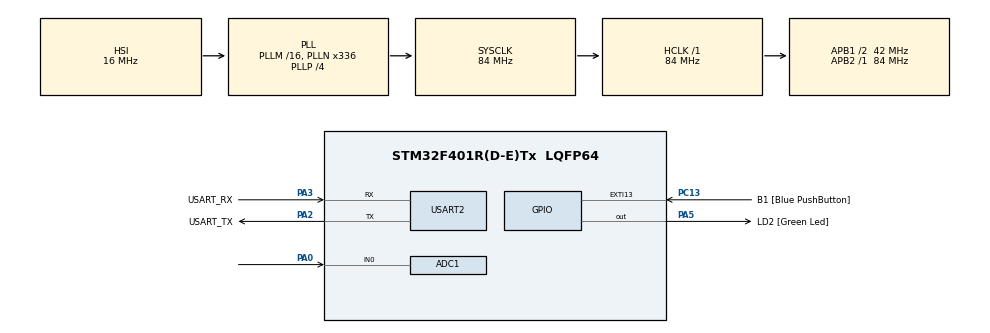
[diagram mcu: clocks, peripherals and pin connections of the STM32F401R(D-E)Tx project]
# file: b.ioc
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ADC1.Channel-0\#ChannelRegularConversion=ADC_CHANNEL_0
ADC1.ClockPrescaler=ADC_CLOCK_SYNC_PCLK_DIV4
ADC1.ContinuousConvMode=DISABLE
ADC1.DMAContinuousRequests=DISABLE
ADC1.ExternalTrigConv=ADC_EXTERNALTRIGCONV_T2_TRGO
ADC1.NbrOfConversion=1
ADC1.NbrOfConversionFlag=1
ADC1.Rank-0\#ChannelRegularConversion=1
ADC1.SamplingTime-0\#ChannelRegularConversion=ADC_SAMPLETIME_480CYCLES
ADC1.ScanConvMode=DISABLE
ADC1.master=1
Mcu.Family=STM32F4
Mcu.Name=STM32F401R(D-E)Tx
Mcu.Package=LQFP64
NVIC.ADC_IRQn=true\:0\:0\:false\:false\:true\:true\:true\:true
NVIC.PriorityGroup=NVIC_PRIORITYGROUP_0
NVIC.TIM2_IRQn=true\:0\:0\:false\:false\:true\:true\:true\:true
PA0-WKUP.Signal=ADCx_IN0
PA13.GPIO_Label=TMS
PA13.Mode=Serial_Wire
PA13.Signal=SYS_JTMS-SWDIO
PA14.GPIO_Label=TCK
PA14.Mode=Serial_Wire
PA14.Signal=SYS_JTCK-SWCLK
PA2.GPIO_Label=USART_TX
PA2.GPIO_Mode=GPIO_MODE_AF_PP
PA2.GPIO_PuPd=GPIO_NOPULL
PA2.GPIO_Speed=GPIO_SPEED_FREQ_LOW
PA2.Mode=Asynchronous
PA2.Signal=USART2_TX
PA3.GPIO_Label=USART_RX
PA3.GPIO_Mode=GPIO_MODE_AF_PP
PA3.GPIO_PuPd=GPIO_NOPULL
PA3.GPIO_Speed=GPIO_SPEED_FREQ_LOW
PA3.Mode=Asynchronous
PA3.Signal=USART2_RX
PA5.GPIO_Label=LD2 [Green Led]
PA5.GPIO_Mode=GPIO_MODE_OUTPUT_PP
PA5.GPIO_PuPd=GPIO_NOPULL
PA5.GPIO_Speed=GPIO_SPEED_FREQ_LOW
PA5.Signal=GPIO_Output
PB3.GPIO_Label=SWO
PB3.Signal=SYS_JTDO-SWO
PC13-ANTI_TAMP.GPIO_Label=B1 [Blue PushButton]
PC13-ANTI_TAMP.GPIO_ModeDefaultEXTI=GPIO_MODE_IT_FALLING
PC13-ANTI_TAMP.GPIO_PuPd=GPIO_NOPULL
PC13-ANTI_TAMP.Signal=GPXTI13
PC14-OSC32_IN.Mode=LSE-External-Oscillator
PC14-OSC32_IN.Signal=RCC_OSC32_IN
PC15-OSC32_OUT.Mode=LSE-External-Oscillator
PC15-OSC32_OUT.Signal=RCC_OSC32_OUT
PH0\ -\ OSC_IN.Mode=HSE-External-Clock-Source
PH0\ -\ OSC_IN.Signal=RCC_OSC_IN
PH1\ -\ OSC_OUT.Mode=HSE-External-Clock-Source
PH1\ -\ OSC_OUT.Signal=RCC_OSC_OUT
ProjectManager.HeapSize=0x200
ProjectManager.StackSize=0x400
ProjectManager.TargetToolchain=STM32CubeIDE
RCC.48MHZClocksFreq_Value=48000000
RCC.AHBFreq_Value=84000000
RCC.APB1CLKDivider=RCC_HCLK_DIV2
RCC.APB1Freq_Value=42000000
RCC.APB1TimFreq_Value=84000000
RCC.APB2Freq_Value=84000000
RCC.APB2TimFreq_Value=84000000
RCC.CortexFreq_Value=84000000
RCC.HCLKFreq_Value=84000000
RCC.HSE_VALUE=8000000
RCC.HSI_VALUE=16000000
RCC.PLLN=336
RCC.PLLP=RCC_PLLP_DIV4
RCC.PLLQ=7
RCC.SYSCLKFreq_VALUE=84000000
RCC.SYSCLKSource=RCC_SYSCLKSOURCE_PLLCLK
RCC.VCOOutputFreq_Value=336000000
SH.ADCx_IN0.0=ADC1_IN0,IN0
TIM2.Period=600 - 1
TIM2.Prescaler=140 - 1
TIM2.TIM_MasterOutputTrigger=TIM_TRGO_UPDATE
USART2.VirtualMode=VM_ASYNC
VP_TIM2_VS_ClockSourceINT.Mode=Internal
board=NUCLEO-F401RE

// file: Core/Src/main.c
/* USER CODE BEGIN Header */
/**
  ******************************************************************************
  * @file           : main.c
  * @brief          : Main program body
  ******************************************************************************
  * @attention
  *
  * Copyright (c) 2023 STMicroelectronics.
  * All rights reserved.
  *
  * This software is licensed under terms that can be found in the LICENSE file
  * in the root directory of this software component.
  * If no LICENSE file comes with this software, it is provided AS-IS.
  *
  ******************************************************************************
  */
/* USER CODE END Header */
#include "main.h"

/* USER CODE BEGIN Includes */

#include <string.h>
#include <stdio.h>
#include <math.h>

/* USER CODE END Includes */

/* USER CODE BEGIN PD */

#define REFERENCE 3.3f
#define MAX_ADC_VALUE 4095

#define N_SAMPLES 1000

/* USER CODE END PD */

ADC_HandleTypeDef hadc1;

TIM_HandleTypeDef htim2;

UART_HandleTypeDef huart2;

/* USER CODE BEGIN PV */

volatile uint16_t buffer[N_SAMPLES];
volatile uint8_t dataReady = 0;
volatile uint16_t bufferIndex = 0;

/* USER CODE END PV */

void SystemClock_Config(void);
static void MX_GPIO_Init(void);
static void MX_USART2_UART_Init(void);
static void MX_ADC1_Init(void);
static void MX_TIM2_Init(void);

int main(void)
{
  /* USER CODE BEGIN 1 */

  char printBuffer[100];

  /* USER CODE END 1 */

  /* MCU Configuration--------------------------------------------------------*/

  /* Reset of all peripherals, Initializes the Flash interface and the Systick. */
  HAL_Init();

  /* Configure the system clock */
  SystemClock_Config();

  /* Initialize all configured peripherals */
  MX_GPIO_Init();
  MX_USART2_UART_Init();
  MX_ADC1_Init();
  MX_TIM2_Init();
  /* USER CODE BEGIN 2 */

  HAL_ADC_Start_IT(&hadc1);
  HAL_TIM_Base_Start_IT(&htim2);

  /* USER CODE END 2 */

  /* Infinite loop */
  /* USER CODE BEGIN WHILE */
  while (1)
  {
	while(!dataReady){}
	dataReady = 0;

	// Once the samples have been all collected it is mandatory to stop the timer
	// to avoid interrupts
	HAL_TIM_Base_Stop_IT(&htim2);

	// Mean the results
	float mean = 0;
	for(int i = 0; i < N_SAMPLES; i++)
	{
		mean += buffer[i];
	}
	mean = mean / N_SAMPLES;

	// After the average has been computed the timer can be restarted again
	HAL_TIM_Base_Start_IT(&htim2);

	// Find the voltage
	float voltage = (mean * REFERENCE) / MAX_ADC_VALUE;
	float LDR = (voltage * 100) / (REFERENCE - voltage);
	float LUX = 10 * pow(100 / LDR, 1.25f);

	// Print the result to screen
	sprintf(printBuffer, "LUX: %f\r\n", LUX);
	HAL_UART_Transmit(&huart2, (uint8_t *)printBuffer, strlen(printBuffer), HAL_MAX_DELAY);

    /* USER CODE END WHILE */

  }
}

void SystemClock_Config(void)
{
  RCC_OscInitTypeDef RCC_OscInitStruct = {0};
  RCC_ClkInitTypeDef RCC_ClkInitStruct = {0};

  /** Configure the main internal regulator output voltage
  */
  __HAL_RCC_PWR_CLK_ENABLE();
  __HAL_PWR_VOLTAGESCALING_CONFIG(PWR_REGULATOR_VOLTAGE_SCALE2);

  /** Initializes the RCC Oscillators according to the specified parameters
  * in the RCC_OscInitTypeDef structure.
  */
  RCC_OscInitStruct.OscillatorType = RCC_OSCILLATORTYPE_HSI;
  RCC_OscInitStruct.HSIState = RCC_HSI_ON;
  RCC_OscInitStruct.HSICalibrationValue = RCC_HSICALIBRATION_DEFAULT;
  RCC_OscInitStruct.PLL.PLLState = RCC_PLL_ON;
  RCC_OscInitStruct.PLL.PLLSource = RCC_PLLSOURCE_HSI;
  RCC_OscInitStruct.PLL.PLLM = 16;
  RCC_OscInitStruct.PLL.PLLN = 336;
  RCC_OscInitStruct.PLL.PLLP = RCC_PLLP_DIV4;
  RCC_OscInitStruct.PLL.PLLQ = 7;
  if (HAL_RCC_OscConfig(&RCC_OscInitStruct) != HAL_OK)
  {
    Error_Handler();
  }

  /** Initializes the CPU, AHB and APB buses clocks
  */
  RCC_ClkInitStruct.ClockType = RCC_CLOCKTYPE_HCLK|RCC_CLOCKTYPE_SYSCLK
                              |RCC_CLOCKTYPE_PCLK1|RCC_CLOCKTYPE_PCLK2;
  RCC_ClkInitStruct.SYSCLKSource = RCC_SYSCLKSOURCE_PLLCLK;
  RCC_ClkInitStruct.AHBCLKDivider = RCC_SYSCLK_DIV1;
  RCC_ClkInitStruct.APB1CLKDivider = RCC_HCLK_DIV2;
  RCC_ClkInitStruct.APB2CLKDivider = RCC_HCLK_DIV1;

  if (HAL_RCC_ClockConfig(&RCC_ClkInitStruct, FLASH_LATENCY_2) != HAL_OK)
  {
    Error_Handler();
  }
}

static void MX_ADC1_Init(void)
{

  ADC_ChannelConfTypeDef sConfig = {0};

  /** Configure the global features of the ADC (Clock, Resolution, Data Alignment and number of conversion)
  */
  hadc1.Instance = ADC1;
  hadc1.Init.ClockPrescaler = ADC_CLOCK_SYNC_PCLK_DIV4;
  hadc1.Init.Resolution = ADC_RESOLUTION_12B;
  hadc1.Init.ScanConvMode = DISABLE;
  hadc1.Init.ContinuousConvMode = DISABLE;
  hadc1.Init.DiscontinuousConvMode = DISABLE;
  hadc1.Init.ExternalTrigConvEdge = ADC_EXTERNALTRIGCONVEDGE_RISING;
  hadc1.Init.ExternalTrigConv = ADC_EXTERNALTRIGCONV_T2_TRGO;
  hadc1.Init.DataAlign = ADC_DATAALIGN_RIGHT;
  hadc1.Init.NbrOfConversion = 1;
  hadc1.Init.DMAContinuousRequests = DISABLE;
  hadc1.Init.EOCSelection = ADC_EOC_SINGLE_CONV;
  if (HAL_ADC_Init(&hadc1) != HAL_OK)
  {
    Error_Handler();
  }

  /** Configure for the selected ADC regular channel its corresponding rank in the sequencer and its sample time.
  */
  sConfig.Channel = ADC_CHANNEL_0;
  sConfig.Rank = 1;
  sConfig.SamplingTime = ADC_SAMPLETIME_480CYCLES;
  if (HAL_ADC_ConfigChannel(&hadc1, &sConfig) != HAL_OK)
  {
    Error_Handler();
  }

}

static void MX_TIM2_Init(void)
{

  TIM_ClockConfigTypeDef sClockSourceConfig = {0};
  TIM_MasterConfigTypeDef sMasterConfig = {0};

  htim2.Instance = TIM2;
  htim2.Init.Prescaler = 140 - 1;
  htim2.Init.CounterMode = TIM_COUNTERMODE_UP;
  htim2.Init.Period = 600 - 1;
  htim2.Init.ClockDivision = TIM_CLOCKDIVISION_DIV1;
  htim2.Init.AutoReloadPreload = TIM_AUTORELOAD_PRELOAD_DISABLE;
  if (HAL_TIM_Base_Init(&htim2) != HAL_OK)
  {
    Error_Handler();
  }
  sClockSourceConfig.ClockSource = TIM_CLOCKSOURCE_INTERNAL;
  if (HAL_TIM_ConfigClockSource(&htim2, &sClockSourceConfig) != HAL_OK)
  {
    Error_Handler();
  }
  sMasterConfig.MasterOutputTrigger = TIM_TRGO_UPDATE;
  sMasterConfig.MasterSlaveMode = TIM_MASTERSLAVEMODE_DISABLE;
  if (HAL_TIMEx_MasterConfigSynchronization(&htim2, &sMasterConfig) != HAL_OK)
  {
    Error_Handler();
  }

}

static void MX_USART2_UART_Init(void)
{

  huart2.Instance = USART2;
  huart2.Init.BaudRate = 115200;
  huart2.Init.WordLength = UART_WORDLENGTH_8B;
  huart2.Init.StopBits = UART_STOPBITS_1;
  huart2.Init.Parity = UART_PARITY_NONE;
  huart2.Init.Mode = UART_MODE_TX_RX;
  huart2.Init.HwFlowCtl = UART_HWCONTROL_NONE;
  huart2.Init.OverSampling = UART_OVERSAMPLING_16;
  if (HAL_UART_Init(&huart2) != HAL_OK)
  {
    Error_Handler();
  }

}

static void MX_GPIO_Init(void)
{
  GPIO_InitTypeDef GPIO_InitStruct = {0};

  /* GPIO Ports Clock Enable */
  __HAL_RCC_GPIOC_CLK_ENABLE();
  __HAL_RCC_GPIOH_CLK_ENABLE();
  __HAL_RCC_GPIOA_CLK_ENABLE();
  __HAL_RCC_GPIOB_CLK_ENABLE();

  /*Configure GPIO pin Output Level */
  HAL_GPIO_WritePin(LD2_GPIO_Port, LD2_Pin, GPIO_PIN_RESET);

  /*Configure GPIO pin : B1_Pin */
  GPIO_InitStruct.Pin = B1_Pin;
  GPIO_InitStruct.Mode = GPIO_MODE_IT_FALLING;
  GPIO_InitStruct.Pull = GPIO_NOPULL;
  HAL_GPIO_Init(B1_GPIO_Port, &GPIO_InitStruct);

  /*Configure GPIO pin : LD2_Pin */
  GPIO_InitStruct.Pin = LD2_Pin;
  GPIO_InitStruct.Mode = GPIO_MODE_OUTPUT_PP;
  GPIO_InitStruct.Pull = GPIO_NOPULL;
  GPIO_InitStruct.Speed = GPIO_SPEED_FREQ_LOW;
  HAL_GPIO_Init(LD2_GPIO_Port, &GPIO_InitStruct);

}

/* USER CODE BEGIN 4 */

void HAL_ADC_ConvCpltCallback(ADC_HandleTypeDef* hadc)
{
	// Add the result to the buffer
	buffer[bufferIndex] = HAL_ADC_GetValue(hadc);
	bufferIndex++;

	// Check the upper limit
	if(bufferIndex == N_SAMPLES)
	{
		// In case of N samples reached set the data ready flag
		dataReady = 1;
		bufferIndex = 0;
	}
}

/* USER CODE END 4 */

void Error_Handler(void)
{
  __disable_irq();
  while (1)
  {
  }
}
